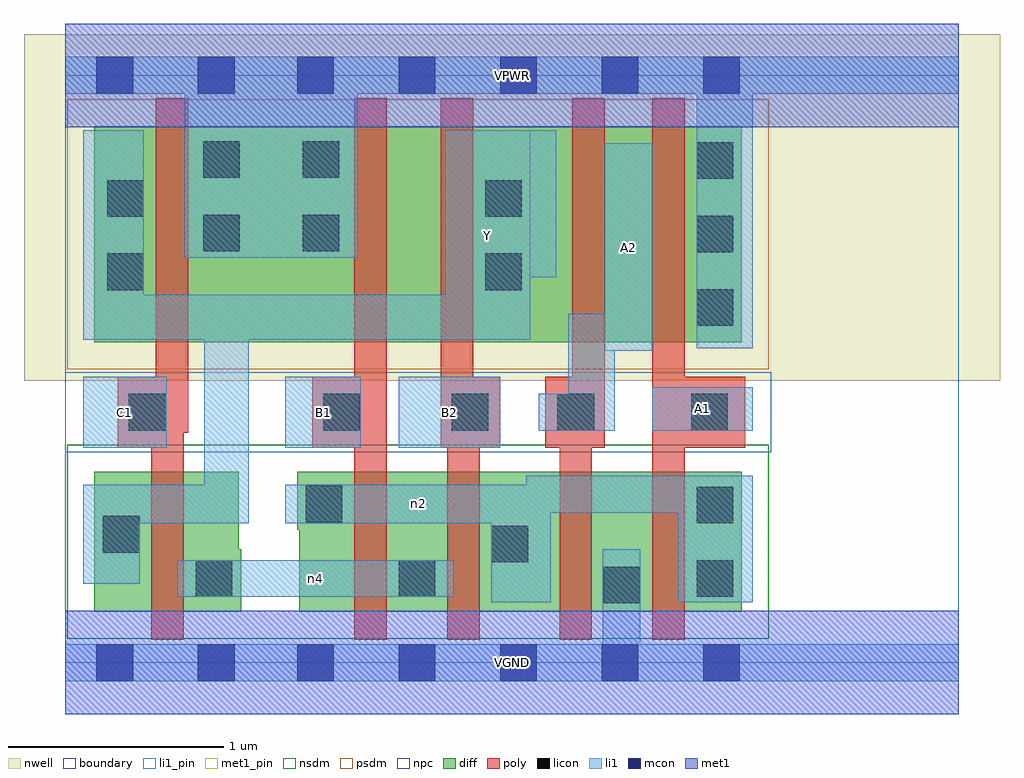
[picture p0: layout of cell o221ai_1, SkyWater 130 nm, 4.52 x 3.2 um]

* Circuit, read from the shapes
.subckt o221ai_1 A1 A2 B1 B2 C1 VGND VPWR Y n2 n4
XM1 n4 C1 Y VSUBS sky130_fd_pr__nfet_01v8 w=0.65 l=0.15
XM2 n4 B1 n2 VSUBS sky130_fd_pr__nfet_01v8 w=0.65 l=0.15
XM3 n2 B2 n4 VSUBS sky130_fd_pr__nfet_01v8 w=0.65 l=0.15
XM4 VGND A2 n2 VSUBS sky130_fd_pr__nfet_01v8 w=0.65 l=0.15
XM5 n2 A1 VGND VSUBS sky130_fd_pr__nfet_01v8 w=0.65 l=0.15
XM6 VPWR C1 Y n1 sky130_fd_pr__pfet_01v8 w=1 l=0.15
XM7 n3 B1 VPWR n1 sky130_fd_pr__pfet_01v8 w=1 l=0.15
XM8 Y B2 n3 n1 sky130_fd_pr__pfet_01v8 w=1 l=0.15
XM9 n5 A2 Y n1 sky130_fd_pr__pfet_01v8 w=1 l=0.15
XM10 VPWR A1 n5 n1 sky130_fd_pr__pfet_01v8 w=1 l=0.15
.ends

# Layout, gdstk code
import gdstk
lib = gdstk.Library(unit=1e-6, precision=1e-09)
def R(c, l, rs):  # rectangles x0, y0, x1, y1
    for r in rs: c.add(gdstk.rectangle(r[:2], r[2:], *l))
def A(c, l, x, y, w, h, nx, ny, dx, dy):  # array of equal rectangles
    R(c, l, [(x+i*dx, y+j*dy, x+i*dx+w, y+j*dy+h) for i in range(nx) for j in range(ny)])
nwell = (64, 20)
diff = (65, 20)
poly = (66, 20)
licon = (66, 44)
li1_pin = (67, 16)
li1 = (67, 20)
mcon = (67, 44)
met1_pin = (68, 16)
met1 = (68, 20)
nsdm = (93, 44)
psdm = (94, 20)
npc = (95, 20)
boundary = (235, 4)

o221ai_1 = lib.new_cell('o221ai_1')
R(o221ai_1, nwell, [(-0.19,1.305,4.33,2.91), (0,1.305,4.14,2.91)])
R(o221ai_1, diff, [(0.135,0.235,0.805,0.885), (0.135,0.235,0.815,0.525), (1.085,0.235,3.135,0.885), (1.075,0.615,3.135,0.885), (0.135,1.485,3.135,2.485)])
R(o221ai_1, poly, [(0.4,0.105,0.55,1.325), (1.34,0.105,1.49,2.615), (1.77,0.105,1.92,1.325), (2.29,0.105,2.44,1.325), (2.72,0.105,2.87,2.615), (0.245,0.995,0.55,1.325), (1.145,0.995,1.49,1.325), (1.74,0.995,1.89,2.615), (1.74,0.995,2.015,1.325), (2.225,0.995,2.5,1.325), (2.35,0.995,2.5,2.615), (2.72,0.995,3.15,1.325), (0.42,1.065,0.57,2.615)])
A(o221ai_1, licon, 2.925, 1.56, 0.17, 0.17, 1, 3, 0, 0.34)
R(o221ai_1, licon, [(2.495,0.275,2.665,0.445), (0.605,0.305,0.775,0.475), (1.545,0.305,1.715,0.475), (2.925,0.305,3.095,0.475), (1.975,0.465,2.145,0.635), (0.175,0.51,0.345,0.68), (2.925,0.645,3.095,0.815), (1.115,0.65,1.285,0.82), (0.295,1.075,0.465,1.245), (1.195,1.075,1.365,1.245), (1.79,1.075,1.96,1.245), (2.28,1.075,2.45,1.245), (2.9,1.075,3.07,1.245), (0.195,1.725,0.365,1.895), (1.945,1.725,2.115,1.895), (0.64,1.905,0.81,2.075), (1.1,1.905,1.27,2.075), (0.195,2.065,0.365,2.235), (1.945,2.065,2.115,2.235), (0.64,2.245,0.81,2.415), (1.1,2.245,1.27,2.415)])
R(o221ai_1, li1_pin, [(0.085,0.995,0.47,1.325), (1.02,0.995,1.37,1.325), (1.545,0.995,2.015,1.325), (2.72,1.075,3.185,1.275), (2.5,1.445,2.72,2.405), (1.76,1.495,2.155,2.465)])
R(o221ai_1, li1, [(0,-0.085,4.14,0.085), (2.49,-0.085,2.665,0.525), (1.975,0.28,2.25,0.825), (2.84,0.28,3.185,0.865), (0.52,0.305,1.8,0.475), (0.085,0.365,0.345,0.825), (0.085,0.645,0.85,0.825), (0.645,0.645,0.85,1.705), (1.02,0.645,2.25,0.825), (2.135,0.695,3.185,0.865), (0.085,0.995,0.47,1.325), (1.02,0.995,1.37,1.325), (1.545,0.995,2.015,1.325), (2.195,1.075,2.545,1.245), (2.33,1.075,2.545,1.615), (2.72,1.075,3.185,1.275), (2.5,1.445,2.72,2.405), (2.925,1.455,3.185,2.805), (0.085,1.495,2.155,1.705), (0.085,1.495,0.365,2.465), (1.76,1.495,2.155,2.465), (1.76,1.785,2.275,2.465), (0.555,1.875,1.355,2.805), (0,2.635,4.14,2.805)])
A(o221ai_1, mcon, 1.075, -0.085, 0.17, 0.17, 5, 2, 0.47, 2.72)
R(o221ai_1, mcon, [(0.145,-0.085,0.315,0.085), (0.615,-0.085,0.785,0.085), (0.145,2.635,0.315,2.805), (0.615,2.635,0.785,2.805)])
R(o221ai_1, met1_pin, [(0,-0.24,4.14,0.24), (0,2.48,4.14,2.96)])
R(o221ai_1, met1, [(0,-0.24,4.14,0.24), (0,2.48,4.14,2.96)])
R(o221ai_1, nsdm, [(0.01,0.11,3.26,1.01)])
R(o221ai_1, psdm, [(0.01,1.36,3.26,2.61)])
R(o221ai_1, npc, [(0,0.975,3.27,1.345)])
R(o221ai_1, boundary, [(0,0,4.14,2.72)])
o221ai_1.add(gdstk.Label('A1', (2.952,1.175), layer=67, texttype=5))
o221ai_1.add(gdstk.Label('A2', (2.61,1.925), layer=67, texttype=5))
o221ai_1.add(gdstk.Label('B1', (1.195,1.16), layer=67, texttype=5))
o221ai_1.add(gdstk.Label('B2', (1.78,1.16), layer=67, texttype=5))
o221ai_1.add(gdstk.Label('C1', (0.277,1.16), layer=67, texttype=5))
o221ai_1.add(gdstk.Label('Y', (1.957,1.98), layer=67, texttype=5))
o221ai_1.add(gdstk.Label('n4', (1.16,0.39), layer=67, texttype=5))
o221ai_1.add(gdstk.Label('n2', (1.635,0.735), layer=67, texttype=5))
o221ai_1.add(gdstk.Label('VPWR', (2.07,2.72), layer=68, texttype=5))
o221ai_1.add(gdstk.Label('VGND', (2.07,0), layer=68, texttype=5))
o221ai_1.add(gdstk.Label('A1', (2.952,1.175), layer=67, texttype=16))
o221ai_1.add(gdstk.Label('A2', (2.61,1.925), layer=67, texttype=16))
o221ai_1.add(gdstk.Label('B1', (1.195,1.16), layer=67, texttype=16))
o221ai_1.add(gdstk.Label('B2', (1.78,1.16), layer=67, texttype=16))
o221ai_1.add(gdstk.Label('C1', (0.277,1.16), layer=67, texttype=16))
o221ai_1.add(gdstk.Label('Y', (1.957,1.98), layer=67, texttype=16))
o221ai_1.add(gdstk.Label('VPWR', (2.07,2.72), layer=68, texttype=16))
o221ai_1.add(gdstk.Label('VGND', (2.07,0), layer=68, texttype=16))

lib.write_gds('o221ai_1.gds')
